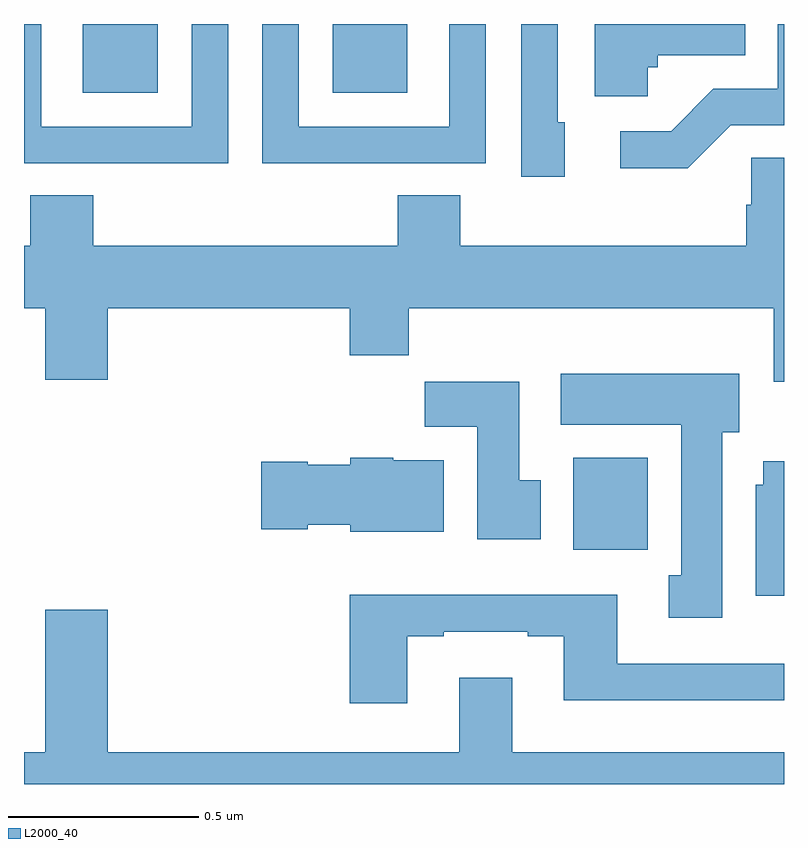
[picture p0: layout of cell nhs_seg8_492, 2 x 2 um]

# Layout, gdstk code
import gdstk
lib = gdstk.Library(unit=1e-6, precision=1e-09)
def R(c, l, rs):  # rectangles x0, y0, x1, y1
    for r in rs: c.add(gdstk.rectangle(r[:2], r[2:], *l))
def P(c, l, *ps):  # polygons
    for p in ps: c.add(gdstk.Polygon(p, *l))
L2000_40 = (2000, 40)

nhs_seg8_492 = lib.new_cell('nhs_seg8_492')
R(nhs_seg8_492, L2000_40, [(118.445,1130.516,118.642,1130.758), (117.155,1131.719,117.352,1131.9), (117.812,1131.719,118.009,1131.9)])
P(nhs_seg8_492, L2000_40, [(118.423,1131.642),(118.404,1131.642),(118.404,1131.9),(118.308,1131.9),(118.308,1131.498),(118.423,1131.498)],
  [(117.537,1131.9),(117.441,1131.9),(117.441,1131.63),(117.045,1131.63),(117.045,1131.9),(117,1131.9),(117,1131.534),(117.265,1131.534),(117.265,1131.533),(117.537,1131.533)],
  [(117.899,1131.534),(118.215,1131.534),(118.215,1131.9),(118.119,1131.9),(118.119,1131.63),(117.723,1131.63),(117.723,1131.9),(117.627,1131.9),(117.627,1131.533),(117.899,1131.533)],
  [(118.641,1131.786),(118.668,1131.786),(118.668,1131.818),(118.898,1131.818),(118.898,1131.9),(118.502,1131.9),(118.502,1131.71),(118.641,1131.71)],
  [(118.86,1131.633),(119,1131.633),(119,1131.9),(118.983,1131.9),(118.983,1131.729),(118.814,1131.729),(118.703,1131.618),(118.569,1131.618),(118.569,1131.521),(118.747,1131.521)],
  [(119,1131.548),(118.914,1131.548),(118.914,1131.425),(118.901,1131.425),(118.901,1131.316),(118.148,1131.316),(118.148,1131.449),(117.983,1131.449),(117.983,1131.316),(117.182,1131.316),(117.182,1131.449),(117.017,1131.449),(117.017,1131.316),(117,1131.316),(117,1131.152),(117.056,1131.152),(117.056,1130.964),(117.22,1130.964),(117.22,1131.152),(117.857,1131.152),(117.857,1131.028),(118.013,1131.028),(118.013,1131.152),(118.973,1131.152),(118.973,1130.958),(119,1130.958)],
  [(118.837,1130.826),(118.882,1130.826),(118.882,1130.98),(118.413,1130.98),(118.413,1130.846),(118.73,1130.846),(118.73,1130.45),(118.697,1130.45),(118.697,1130.337),(118.837,1130.337)],
  [(118.36,1130.7),(118.303,1130.7),(118.303,1130.959),(118.054,1130.959),(118.054,1130.84),(118.193,1130.84),(118.193,1130.544),(118.36,1130.544)],
  [(118.105,1130.752),(117.972,1130.752),(117.972,1130.758),(117.858,1130.758),(117.858,1130.74),(117.747,1130.74),(117.747,1130.748),(117.624,1130.748),(117.624,1130.57),(117.747,1130.57),(117.747,1130.582),(117.858,1130.582),(117.858,1130.564),(118.105,1130.564)],
  [(119,1130.749),(118.946,1130.749),(118.946,1130.688),(118.925,1130.688),(118.925,1130.396),(119,1130.396)],
  [(118.009,1130.289),(118.105,1130.289),(118.105,1130.301),(118.325,1130.301),(118.325,1130.289),(118.421,1130.289),(118.421,1130.12),(119,1130.12),(119,1130.217),(118.561,1130.217),(118.561,1130.398),(117.857,1130.398),(117.857,1130.112),(118.009,1130.112)],
  [(119,1129.984),(118.285,1129.984),(118.285,1130.179),(118.145,1130.179),(118.145,1129.984),(117.22,1129.984),(117.22,1130.359),(117.056,1130.359),(117.056,1129.984),(117,1129.984),(117,1129.9),(119,1129.9)])

lib.write_gds('nhs_seg8_492.gds')
